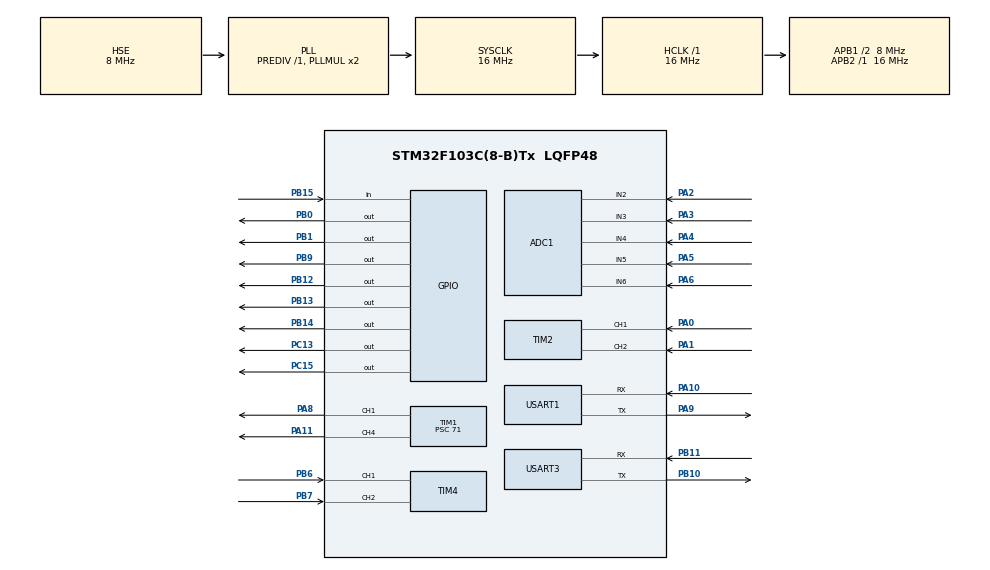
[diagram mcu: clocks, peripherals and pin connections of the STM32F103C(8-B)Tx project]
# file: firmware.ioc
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ADC1.Channel-0\#ChannelRegularConversion=ADC_CHANNEL_2
ADC1.Channel-1\#ChannelRegularConversion=ADC_CHANNEL_2
ADC1.Channel-2\#ChannelRegularConversion=ADC_CHANNEL_2
ADC1.Channel-3\#ChannelRegularConversion=ADC_CHANNEL_2
ADC1.Channel-4\#ChannelRegularConversion=ADC_CHANNEL_2
ADC1.ContinuousConvMode=ENABLE
ADC1.NbrOfConversion=5
ADC1.NbrOfConversionFlag=1
ADC1.Rank-0\#ChannelRegularConversion=1
ADC1.Rank-1\#ChannelRegularConversion=2
ADC1.Rank-2\#ChannelRegularConversion=3
ADC1.Rank-3\#ChannelRegularConversion=4
ADC1.Rank-4\#ChannelRegularConversion=5
ADC1.SamplingTime-0\#ChannelRegularConversion=ADC_SAMPLETIME_55CYCLES_5
ADC1.SamplingTime-1\#ChannelRegularConversion=ADC_SAMPLETIME_55CYCLES_5
ADC1.SamplingTime-2\#ChannelRegularConversion=ADC_SAMPLETIME_55CYCLES_5
ADC1.SamplingTime-3\#ChannelRegularConversion=ADC_SAMPLETIME_55CYCLES_5
ADC1.SamplingTime-4\#ChannelRegularConversion=ADC_SAMPLETIME_55CYCLES_5
ADC1.master=1
Mcu.Family=STM32F1
Mcu.Name=STM32F103C(8-B)Tx
Mcu.Package=LQFP48
NVIC.PriorityGroup=NVIC_PRIORITYGROUP_4
PA0-WKUP.Signal=S_TIM2_CH1_ETR
PA1.Signal=S_TIM2_CH2
PA10.Mode=Asynchronous
PA10.Signal=USART1_RX
PA11.Signal=S_TIM1_CH4
PA13.Mode=Serial_Wire
PA13.Signal=SYS_JTMS-SWDIO
PA14.Mode=Serial_Wire
PA14.Signal=SYS_JTCK-SWCLK
PA2.Signal=ADCx_IN2
PA3.Signal=ADCx_IN3
PA4.Signal=ADCx_IN4
PA5.Signal=ADCx_IN5
PA6.Signal=ADCx_IN6
PA8.Signal=S_TIM1_CH1
PA9.Mode=Asynchronous
PA9.Signal=USART1_TX
PB0.Signal=GPIO_Output
PB1.Signal=GPIO_Output
PB10.Mode=Asynchronous
PB10.Signal=USART3_TX
PB11.Mode=Asynchronous
PB11.Signal=USART3_RX
PB12.Signal=GPIO_Output
PB13.Signal=GPIO_Output
PB14.Signal=GPIO_Output
PB15.Signal=GPIO_Input
PB6.Signal=S_TIM4_CH1
PB7.Signal=S_TIM4_CH2
PB9.Signal=GPIO_Output
PC13-TAMPER-RTC.Signal=GPIO_Output
PC15-OSC32_OUT.Signal=GPIO_Output
PD0-OSC_IN.Mode=HSE-External-Oscillator
PD0-OSC_IN.Signal=RCC_OSC_IN
PD1-OSC_OUT.Mode=HSE-External-Oscillator
PD1-OSC_OUT.Signal=RCC_OSC_OUT
ProjectManager.HeapSize=0x200
ProjectManager.StackSize=0x400
ProjectManager.TargetToolchain=Makefile
RCC.AHBFreq_Value=16000000
RCC.APB1CLKDivider=RCC_HCLK_DIV2
RCC.APB1Freq_Value=8000000
RCC.APB1TimFreq_Value=16000000
RCC.APB2Freq_Value=16000000
RCC.APB2TimFreq_Value=16000000
RCC.HCLKFreq_Value=16000000
RCC.PLLSourceVirtual=RCC_PLLSOURCE_HSE
RCC.SYSCLKFreq_VALUE=16000000
RCC.SYSCLKSource=RCC_SYSCLKSOURCE_PLLCLK
RCC.USBFreq_Value=16000000
SH.ADCx_IN2.0=ADC1_IN2,IN2
SH.ADCx_IN3.0=ADC1_IN3,IN3
SH.ADCx_IN4.0=ADC1_IN4,IN4
SH.ADCx_IN5.0=ADC1_IN5,IN5
SH.ADCx_IN6.0=ADC1_IN6,IN6
SH.S_TIM1_CH1.0=TIM1_CH1,PWM Generation1 CH1
SH.S_TIM1_CH4.0=TIM1_CH4,PWM Generation4 CH4
SH.S_TIM2_CH1_ETR.0=TIM2_CH1,Encoder_Interface
SH.S_TIM2_CH2.0=TIM2_CH2,Encoder_Interface
SH.S_TIM4_CH1.0=TIM4_CH1,Encoder_Interface
SH.S_TIM4_CH2.0=TIM4_CH2,Encoder_Interface
TIM1.Channel-PWM\ Generation1\ CH1=TIM_CHANNEL_1
TIM1.Channel-PWM\ Generation4\ CH4=TIM_CHANNEL_4
TIM1.Period=999
TIM1.Prescaler=71
TIM2.EncoderMode=TIM_ENCODERMODE_TI12
TIM2.IC1Filter=10
TIM2.IC2Filter=10
TIM4.EncoderMode=TIM_ENCODERMODE_TI12
TIM4.IC1Filter=10
TIM4.IC2Filter=10
USART1.VirtualMode=VM_ASYNC
USART3.VirtualMode=VM_ASYNC
VP_TIM1_VS_ClockSourceINT.Mode=Internal
board=custom

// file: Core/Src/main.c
/* USER CODE BEGIN Header */
/**
  ******************************************************************************
  * @file           : main.c
  * @brief          : Main program body
  ******************************************************************************
  * @attention
  *
  * Copyright (c) 2026 STMicroelectronics.
  * All rights reserved.
  *
  * This software is licensed under terms that can be found in the LICENSE file
  * in the root directory of this software component.
  * If no LICENSE file comes with this software, it is provided AS-IS.
  *
  ******************************************************************************
  */
/* USER CODE END Header */
#include "main.h"
#include "adc.h"
#include "tim.h"
#include "usart.h"
#include "gpio.h"

/* USER CODE BEGIN Includes */
#include "board.h"
#include "motor.h"
#include "encoder.h"
#include "gray.h"
#include "oled.h"
#include "pid.h"
#include "state_machine.h"
/* USER CODE END Includes */

void SystemClock_Config(void);

int main(void)
{

  /* MCU Configuration--------------------------------------------------------*/

  /* Reset of all peripherals, Initializes the Flash interface and the Systick. */
  HAL_Init();

  /* Configure the system clock */
  SystemClock_Config();

  /* Initialize all configured peripherals */
  MX_GPIO_Init();
  MX_ADC1_Init();
  MX_TIM1_Init();
  MX_TIM2_Init();
  MX_TIM4_Init();
  MX_USART1_UART_Init();
  MX_USART3_UART_Init();
  /* USER CODE BEGIN 2 */
  Motor_Init();
  Encoder_Init();
  Gray_Init();
  OLED_Init();
  StateMachine_Init();
  /* USER CODE END 2 */

  /* Infinite loop */
  while (1)
  {

    /* USER CODE BEGIN 3 */
    //StateMachine_Run();
    // 左轮正转，右轮正转，速度 500 (50%)
Motor_SetSpeed(MOTOR_LEFT, 500);
Motor_SetSpeed(MOTOR_RIGHT, 500);
HAL_Delay(2000); // 转 2 秒

// 左轮反转，右轮反转，速度 500
Motor_SetSpeed(MOTOR_LEFT, -500);
Motor_SetSpeed(MOTOR_RIGHT, -500);
HAL_Delay(2000); // 转 2 秒

// 停止 1 秒
Motor_Stop(MOTOR_LEFT);
Motor_Stop(MOTOR_RIGHT);
HAL_Delay(1000);

  }
  /* USER CODE END 3 */
}

void SystemClock_Config(void)
{
  RCC_OscInitTypeDef RCC_OscInitStruct = {0};
  RCC_ClkInitTypeDef RCC_ClkInitStruct = {0};
  RCC_PeriphCLKInitTypeDef PeriphClkInit = {0};

  /** Initializes the RCC Oscillators according to the specified parameters
  * in the RCC_OscInitTypeDef structure.
  */
  RCC_OscInitStruct.OscillatorType = RCC_OSCILLATORTYPE_HSE;
  RCC_OscInitStruct.HSEState = RCC_HSE_ON;
  RCC_OscInitStruct.HSEPredivValue = RCC_HSE_PREDIV_DIV1;
  RCC_OscInitStruct.HSIState = RCC_HSI_ON;
  RCC_OscInitStruct.PLL.PLLState = RCC_PLL_ON;
  RCC_OscInitStruct.PLL.PLLSource = RCC_PLLSOURCE_HSE;
  RCC_OscInitStruct.PLL.PLLMUL = RCC_PLL_MUL2;
  if (HAL_RCC_OscConfig(&RCC_OscInitStruct) != HAL_OK)
  {
    Error_Handler();
  }

  /** Initializes the CPU, AHB and APB buses clocks
  */
  RCC_ClkInitStruct.ClockType = RCC_CLOCKTYPE_HCLK|RCC_CLOCKTYPE_SYSCLK
                              |RCC_CLOCKTYPE_PCLK1|RCC_CLOCKTYPE_PCLK2;
  RCC_ClkInitStruct.SYSCLKSource = RCC_SYSCLKSOURCE_PLLCLK;
  RCC_ClkInitStruct.AHBCLKDivider = RCC_SYSCLK_DIV1;
  RCC_ClkInitStruct.APB1CLKDivider = RCC_HCLK_DIV2;
  RCC_ClkInitStruct.APB2CLKDivider = RCC_HCLK_DIV1;

  if (HAL_RCC_ClockConfig(&RCC_ClkInitStruct, FLASH_LATENCY_0) != HAL_OK)
  {
    Error_Handler();
  }
  PeriphClkInit.PeriphClockSelection = RCC_PERIPHCLK_ADC;
  PeriphClkInit.AdcClockSelection = RCC_ADCPCLK2_DIV2;
  if (HAL_RCCEx_PeriphCLKConfig(&PeriphClkInit) != HAL_OK)
  {
    Error_Handler();
  }
}

void Error_Handler(void)
{
  __disable_irq();
  while (1)
  {
  }
}
